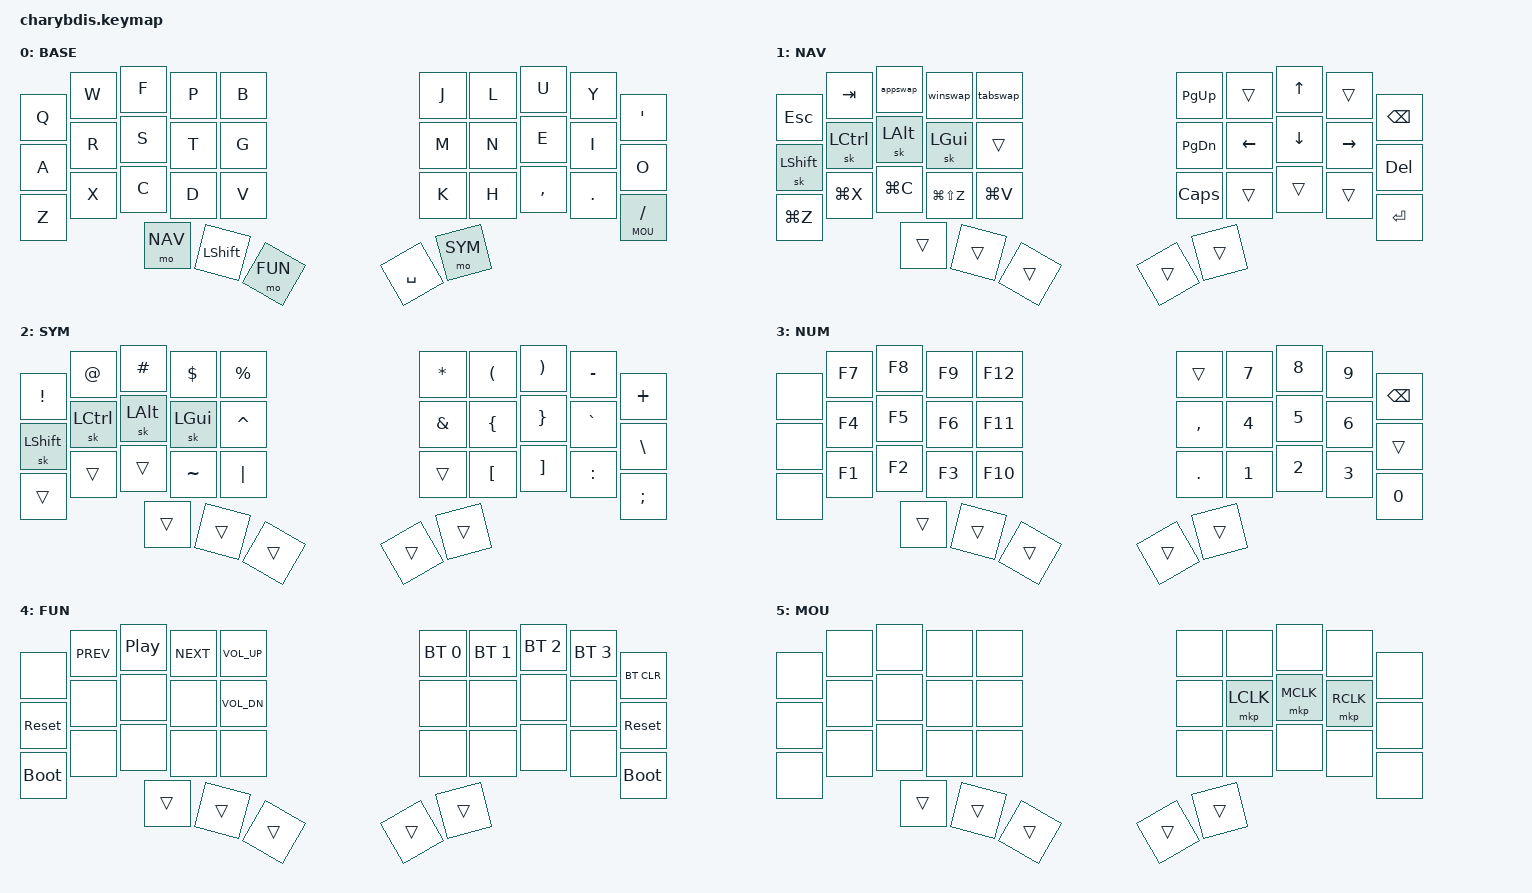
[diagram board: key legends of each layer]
#include <behaviors.dtsi>
#include <dt-bindings/zmk/keys.h>
#include <dt-bindings/zmk/bt.h>
#include <dt-bindings/zmk/mouse.h>

#define BASE 0
#define NAV  1
#define SYM  2
#define NUM  3
#define FUN  4
#define MOU  5

&sk {
    quick-release;
};

/ {
    chosen {
        zmk,matrix_transform = &five_column_transform;
    };

    trackball_listener {
        compatible = "zmk,input-listener";
        device = <&trackball_split>;

        snipe {
            layers = <MOU>;
            input-processors = <&zip_xy_scaler 1 3>;
        };

        scroll {
            layers = <NAV>;
            input-processors = <&zip_xy_scaler 1 3>, <&zip_xy_to_scroll_mapper>, <&zip_scroll_transform (INPUT_TRANSFORM_Y_INVERT)>;
        };
    };

    conditional_layers {
        compatible = "zmk,conditional-layers";

        adjust_layer {
            if-layers = <NAV SYM>;
            then-layer = <NUM>;
        };
    };

    behaviors {
        appswap: appswap {
            compatible = "zmk,behavior-tri-state";
            label = "App Switcher";
            #binding-cells = <0>;
            bindings = <&kt LGUI>, <&kp TAB>, <&kt LGUI>;
        };
        winswap: winswap {
            compatible = "zmk,behavior-tri-state";
            label = "Window Switcher";
            #binding-cells = <0>;
            bindings = <&kt LALT>, <&kp GRAVE>, <&kt LALT>;
        };
        tabswap: tabswap {
            compatible = "zmk,behavior-tri-state";
            label = "Tab Switcher";
            #binding-cells = <0>;
            bindings = <&kt LCTRL>, <&kp TAB>, <&kt LCTRL>;
        };
    };

     keymap {
            compatible = "zmk,keymap";
// ▄▄▄▄▄▄▄▄▄▄▄▄▄▄▄▄▄▄▄▄▄▄▄▄▄▄▄▄▄▄▄▄▄▄▄▄▄▄▄▄▄▄▄▄▄▄▄▄▄▄▄▄▄▄▄▄▄▄▄▄▄▄▄▄▄▄▄▄▄▄▄▄▄▄▄▄▄▄▄▄▄▄▄▄▄▄▄▄▄▄▄▄▄▄▄▄▄▄▄▄▄▄▄▄▄▄▄▄▄▄▄▄▄▄▄▄▄▄▄▄▄▄▄▄▄▄▄▄▄▄▄▄▄▄▄▄▄▄▄▄▄▄▄▄▄▄▄▄▄

            base_layer {
// ┏━━━━━━━━━━━━━━━━━━━━━━━━━━━━━━━━━━━━━━━┓
label= "BASE"                              ;
// ┗━━━━━━━━━━━━━━━━━━━━━━━━━━━━━━━━━━━━━━━┛
//             ┏━━━━━━━━━━━┳━━━━━━━━━━━┳━━━━━━━━━━━┳━━━━━━━━━━━┳━━━━━━━━━━━┓   ┏━━━━━━━━━━━┳━━━━━━━━━━━┳━━━━━━━━━━━┳━━━━━━━━━━━┳━━━━━━━━━━━┓
//             ┃     Q     ┃     W     ┃     F     ┃     P     ┃     B     ┃   ┃     J     ┃     L     ┃     U     ┃     Y     ┃     '     ┃
//             ┣━━━━━━━━━━━╋━━━━━━━━━━━╋━━━━━━━━━━━╋━━━━━━━━━━━╋━━━━━━━━━━━┫   ┣━━━━━━━━━━━╋━━━━━━━━━━━╋━━━━━━━━━━━╋━━━━━━━━━━━╋━━━━━━━━━━━┫
//             ┃     A     ┃     R     ┃     S     ┃     T     ┃     G     ┃   ┃     M     ┃     N     ┃     E     ┃     I     ┃     O     ┃
//             ┣━━━━━━━━━━━╋━━━━━━━━━━━╋━━━━━━━━━━━╋━━━━━━━━━━━╋━━━━━━━━━━━┫   ┣━━━━━━━━━━━╋━━━━━━━━━━━╋━━━━━━━━━━━╋━━━━━━━━━━━╋━━━━━━━━━━━┫
//             ┃     Z     ┃     X     ┃     C     ┃     D     ┃     V     ┃   ┃     K     ┃     H     ┃     ,     ┃     .     ┃     /     ┃
//             ┗━━━━━━━━━━━┻━━━━━━━━━━━╋━━━━━━━━━━━╋━━━━━━━━━━━╋━━━━━━━━━━━┫   ┣━━━━━━━━━━━╋━━━━━━━━━━━╋━━━━━━━━━━━┻━━━━━━━━━━━┻━━━━━━━━━━━┛
//                                     ┃    NAV    ┃    SHFT   ┃    FUN    ┃   ┃    SPC    ┃    SYM    ┃
//                                     ┗━━━━━━━━━━━┻━━━━━━━━━━━┻━━━━━━━━━━━┛   ┗━━━━━━━━━━━┻━━━━━━━━━━━┛
 bindings = <
// ╷           ╷           ╷           ╷           ╷           ╷           ╷   ╷           ╷           ╷           ╷           ╷           ╷           ╷

                &kp Q       &kp W       &kp F       &kp P       &kp B           &kp J       &kp L       &kp U       &kp Y       &kp SQT
                &kp A       &kp R       &kp S       &kp T       &kp G           &kp M       &kp N       &kp E       &kp I       &kp O
                &kp Z       &kp X       &kp C       &kp D       &kp V           &kp K       &kp H       &kp COMMA   &kp DOT     &lt MOU FSLH
                                        &mo NAV     &kp LSHFT   &mo FUN         &kp SPC     &mo SYM
                        >;
                };

// ▄▄▄▄▄▄▄▄▄▄▄▄▄▄▄▄▄▄▄▄▄▄▄▄▄▄▄▄▄▄▄▄▄▄▄▄▄▄▄▄▄▄▄▄▄▄▄▄▄▄▄▄▄▄▄▄▄▄▄▄▄▄▄▄▄▄▄▄▄▄▄▄▄▄▄▄▄▄▄▄▄▄▄▄▄▄▄▄▄▄▄▄▄▄▄▄▄▄▄▄▄▄▄▄▄▄▄▄▄▄▄▄▄▄▄▄▄▄▄▄▄▄▄▄▄▄▄▄▄▄▄▄▄▄▄▄▄▄▄▄▄▄▄▄▄▄▄▄▄


            nav_layer {
// ┏━━━━━━━━━━━━━━━━━━━━━━━━━━━━━━━━━━━━━━━┓
label= "NAV"                               ;
// ┗━━━━━━━━━━━━━━━━━━━━━━━━━━━━━━━━━━━━━━━┛
//             ┏━━━━━━━━━━━┳━━━━━━━━━━━┳━━━━━━━━━━━┳━━━━━━━━━━━┳━━━━━━━━━━━┓   ┏━━━━━━━━━━━┳━━━━━━━━━━━┳━━━━━━━━━━━┳━━━━━━━━━━━┳━━━━━━━━━━━┓
//             ┃    ESC    ┃    TAB    ┃  NXT_APP  ┃  NXT_WIN  ┃  NXT_TAB  ┃   ┃   PG_UP   ┃           ┃    UP     ┃           ┃   BSPC    ┃
//             ┣━━━━━━━━━━━╋━━━━━━━━━━━╋━━━━━━━━━━━╋━━━━━━━━━━━╋━━━━━━━━━━━┫   ┣━━━━━━━━━━━╋━━━━━━━━━━━╋━━━━━━━━━━━╋━━━━━━━━━━━╋━━━━━━━━━━━┫
//             ┃   SHIFT   ┃   CTRL    ┃    ALT    ┃    GUI    ┃           ┃   ┃   PG_DN   ┃   LEFT    ┃   DOWN    ┃   RIGHT   ┃    DEL    ┃
//             ┣━━━━━━━━━━━╋━━━━━━━━━━━╋━━━━━━━━━━━╋━━━━━━━━━━━╋━━━━━━━━━━━┫   ┣━━━━━━━━━━━╋━━━━━━━━━━━╋━━━━━━━━━━━╋━━━━━━━━━━━╋━━━━━━━━━━━┫
//             ┃    UNDO   ┃    CUT    ┃    COPY   ┃    REDO   ┃   PASTE   ┃   ┃   CAPS    ┃           ┃           ┃           ┃   ENTER   ┃
//             ┗━━━━━━━━━━━┻━━━━━━━━━━━╋━━━━━━━━━━━╋━━━━━━━━━━━╋━━━━━━━━━━━┫   ┣━━━━━━━━━━━╋━━━━━━━━━━━╋━━━━━━━━━━━┻━━━━━━━━━━━┻━━━━━━━━━━━┛
//                                     ┃    NAV    ┃    SHFT   ┃    FUN    ┃   ┃    SPC    ┃    SYM    ┃
//                                     ┗━━━━━━━━━━━┻━━━━━━━━━━━┻━━━━━━━━━━━┛   ┗━━━━━━━━━━━┻━━━━━━━━━━━┛
 bindings = <
// ╷           ╷           ╷           ╷           ╷           ╷           ╷   ╷           ╷           ╷           ╷           ╷           ╷           ╷

                &kp ESC     &kp TAB     &appswap    &winswap    &tabswap        &kp PG_UP   &trans      &kp UP      &trans      &kp BSPC
                &sk LSHFT   &sk LCTRL   &sk LALT    &sk LGUI    &trans          &kp PG_DN   &kp LEFT    &kp DOWN    &kp RIGHT   &kp DEL
                &kp LG(Z)   &kp LG(X)   &kp LG(C)   &kp LG(LS(Z)) &kp LG(V)     &kp CAPS    &trans      &trans      &trans      &kp ENTER
                                        &trans      &trans      &trans          &trans      &trans
                        >;
                };

// ▄▄▄▄▄▄▄▄▄▄▄▄▄▄▄▄▄▄▄▄▄▄▄▄▄▄▄▄▄▄▄▄▄▄▄▄▄▄▄▄▄▄▄▄▄▄▄▄▄▄▄▄▄▄▄▄▄▄▄▄▄▄▄▄▄▄▄▄▄▄▄▄▄▄▄▄▄▄▄▄▄▄▄▄▄▄▄▄▄▄▄▄▄▄▄▄▄▄▄▄▄▄▄▄▄▄▄▄▄▄▄▄▄▄▄▄▄▄▄▄▄▄▄▄▄▄▄▄▄▄▄▄▄▄▄▄▄▄▄▄▄▄▄▄▄▄▄▄▄


            sim_layer {
// ┏━━━━━━━━━━━━━━━━━━━━━━━━━━━━━━━━━━━━━━━┓
label= "SYM"                               ;
// ┗━━━━━━━━━━━━━━━━━━━━━━━━━━━━━━━━━━━━━━━┛
//             ┏━━━━━━━━━━━┳━━━━━━━━━━━┳━━━━━━━━━━━┳━━━━━━━━━━━┳━━━━━━━━━━━┓   ┏━━━━━━━━━━━┳━━━━━━━━━━━┳━━━━━━━━━━━┳━━━━━━━━━━━┳━━━━━━━━━━━┓
//             ┃     !     ┃     @     ┃     #     ┃     $     ┃     %     ┃   ┃     *     ┃     (     ┃     )     ┃     -     ┃     =     ┃
//             ┣━━━━━━━━━━━╋━━━━━━━━━━━╋━━━━━━━━━━━╋━━━━━━━━━━━╋━━━━━━━━━━━┫   ┣━━━━━━━━━━━╋━━━━━━━━━━━╋━━━━━━━━━━━╋━━━━━━━━━━━╋━━━━━━━━━━━┫
//             ┃   SHIFT   ┃   CTRL    ┃    ALT    ┃    GUI    ┃     ^     ┃   ┃     &     ┃     {     ┃     }     ┃     `     ┃     \     ┃
//             ┣━━━━━━━━━━━╋━━━━━━━━━━━╋━━━━━━━━━━━╋━━━━━━━━━━━╋━━━━━━━━━━━┫   ┣━━━━━━━━━━━╋━━━━━━━━━━━╋━━━━━━━━━━━╋━━━━━━━━━━━╋━━━━━━━━━━━┫
//             ┃           ┃           ┃           ┃     ~     ┃     |     ┃   ┃           ┃     [     ┃     ]     ┃      :    ┃     ;     ┃
//             ┗━━━━━━━━━━━┻━━━━━━━━━━━╋━━━━━━━━━━━╋━━━━━━━━━━━╋━━━━━━━━━━━┫   ┣━━━━━━━━━━━╋━━━━━━━━━━━╋━━━━━━━━━━━┻━━━━━━━━━━━┻━━━━━━━━━━━┛
//                                     ┃    NAV    ┃    SHFT   ┃    FUN    ┃   ┃    SPC    ┃    SYM    ┃
//                                     ┗━━━━━━━━━━━┻━━━━━━━━━━━┻━━━━━━━━━━━┛   ┗━━━━━━━━━━━┻━━━━━━━━━━━┛
 bindings = <
// ╷           ╷           ╷           ╷           ╷           ╷           ╷   ╷           ╷           ╷           ╷           ╷           ╷           ╷

                &kp EXCL    &kp AT      &kp HASH    &kp DLLR    &kp PRCNT       &kp ASTRK   &kp LPAR    &kp RPAR   &kp MINUS    &kp PLUS
                &sk LSHFT   &sk LCTRL   &sk LALT    &sk LGUI    &kp CARET       &kp AMPS    &kp LBRC    &kp RBRC   &kp GRAVE    &kp BSLH
                &trans      &trans      &trans      &kp TILDE   &kp PIPE        &trans      &kp LBKT    &kp RBKT   &kp COLON    &kp SEMI
                                        &trans      &trans      &trans          &trans      &trans
                        >;
                };

// ▄▄▄▄▄▄▄▄▄▄▄▄▄▄▄▄▄▄▄▄▄▄▄▄▄▄▄▄▄▄▄▄▄▄▄▄▄▄▄▄▄▄▄▄▄▄▄▄▄▄▄▄▄▄▄▄▄▄▄▄▄▄▄▄▄▄▄▄▄▄▄▄▄▄▄▄▄▄▄▄▄▄▄▄▄▄▄▄▄▄▄▄▄▄▄▄▄▄▄▄▄▄▄▄▄▄▄▄▄▄▄▄▄▄▄▄▄▄▄▄▄▄▄▄▄▄▄▄▄▄▄▄▄▄▄▄▄▄▄▄▄▄▄▄▄▄▄▄▄


            num_layer {
// ┏━━━━━━━━━━━━━━━━━━━━━━━━━━━━━━━━━━━━━━━┓
label= "NUM"                               ;
// ┗━━━━━━━━━━━━━━━━━━━━━━━━━━━━━━━━━━━━━━━┛
//             ┏━━━━━━━━━━━┳━━━━━━━━━━━┳━━━━━━━━━━━┳━━━━━━━━━━━┳━━━━━━━━━━━┓   ┏━━━━━━━━━━━┳━━━━━━━━━━━┳━━━━━━━━━━━┳━━━━━━━━━━━┳━━━━━━━━━━━┓
//             ┃           ┃    F7     ┃    F8     ┃    F9     ┃    F12    ┃   ┃           ┃     7     ┃     8     ┃     9     ┃   BSPC    ┃
//             ┣━━━━━━━━━━━╋━━━━━━━━━━━╋━━━━━━━━━━━╋━━━━━━━━━━━╋━━━━━━━━━━━┫   ┣━━━━━━━━━━━╋━━━━━━━━━━━╋━━━━━━━━━━━╋━━━━━━━━━━━╋━━━━━━━━━━━┫
//             ┃           ┃    F4     ┃    F5     ┃    F6     ┃    F11    ┃   ┃     ,     ┃     4     ┃     5     ┃     6     ┃           ┃
//             ┣━━━━━━━━━━━╋━━━━━━━━━━━╋━━━━━━━━━━━╋━━━━━━━━━━━╋━━━━━━━━━━━╋   ┣━━━━━━━━━━━╋━━━━━━━━━━━╋━━━━━━━━━━━╋━━━━━━━━━━━╋━━━━━━━━━━━┫
//             ┃           ┃    F1     ┃    F2     ┃    F3     ┃    F10    ┃   ┃     .     ┃     1     ┃     2     ┃     3     ┃     0     ┃
//             ┗━━━━━━━━━━━┻━━━━━━━━━━━╋━━━━━━━━━━━╋━━━━━━━━━━━┻━━━━━━━━━━━┻   ┣━━━━━━━━━━━╋━━━━━━━━━━━╋━━━━━━━━━━━┻━━━━━━━━━━━┻━━━━━━━━━━━┛
//                                     ┃    NAV    ┃    SHFT   ┃    FUN    ┃   ┃    SPC    ┃    SYM    ┃
//                                     ┗━━━━━━━━━━━┻━━━━━━━━━━━┻━━━━━━━━━━━┛   ┗━━━━━━━━━━━┻━━━━━━━━━━━┛
 bindings = <
// ╷           ╷           ╷           ╷           ╷           ╷           ╷   ╷           ╷           ╷           ╷           ╷           ╷           ╷

                &none      &kp F7      &kp F8      &kp F9      &kp F12          &trans      &kp N7      &kp N8      &kp N9      &kp BSPC
                &none      &kp F4      &kp F5      &kp F6      &kp F11          &kp COMMA   &kp N4      &kp N5      &kp N6      &trans
                &none      &kp F1      &kp F2      &kp F3      &kp F10          &kp DOT     &kp N1      &kp N2      &kp N3      &kp N0
                                       &trans      &trans      &trans           &trans      &trans
                        >;
                };

// ▄▄▄▄▄▄▄▄▄▄▄▄▄▄▄▄▄▄▄▄▄▄▄▄▄▄▄▄▄▄▄▄▄▄▄▄▄▄▄▄▄▄▄▄▄▄▄▄▄▄▄▄▄▄▄▄▄▄▄▄▄▄▄▄▄▄▄▄▄▄▄▄▄▄▄▄▄▄▄▄▄▄▄▄▄▄▄▄▄▄▄▄▄▄▄▄▄▄▄▄▄▄▄▄▄▄▄▄▄▄▄▄▄▄▄▄▄▄▄▄▄▄▄▄▄▄▄▄▄▄▄▄▄▄▄▄▄▄▄▄▄▄▄▄▄▄▄▄▄


        fun_layer {
// ┏━━━━━━━━━━━━━━━━━━━━━━━━━━━━━━━━━━━━━━━┓
label= "FUN"                               ;
// ┗━━━━━━━━━━━━━━━━━━━━━━━━━━━━━━━━━━━━━━━┛
//             ┏━━━━━━━━━━━┳━━━━━━━━━━━┳━━━━━━━━━━━┳━━━━━━━━━━━┳━━━━━━━━━━━┓   ┏━━━━━━━━━━━┳━━━━━━━━━━━┳━━━━━━━━━━━┳━━━━━━━━━━━┳━━━━━━━━━━━┓
//             ┃           ┃   PREV    ┃   PLAY    ┃   NEXT    ┃   VOL_UP  ┃   ┃   BT_0    ┃   BT_1    ┃    BT_2   ┃    BT_3   ┃  BT_CLR   ┃
//             ┣━━━━━━━━━━━╋━━━━━━━━━━━╋━━━━━━━━━━━╋━━━━━━━━━━━╋━━━━━━━━━━━┫   ┣━━━━━━━━━━━╋━━━━━━━━━━━╋━━━━━━━━━━━╋━━━━━━━━━━━╋━━━━━━━━━━━┫
//             ┃           ┃           ┃           ┃           ┃   VOL_DN  ┃   ┃           ┃           ┃           ┃           ┃           ┃
//             ┣━━━━━━━━━━━╋━━━━━━━━━━━╋━━━━━━━━━━━╋━━━━━━━━━━━╋━━━━━━━━━━━┫   ┣━━━━━━━━━━━╋━━━━━━━━━━━╋━━━━━━━━━━━╋━━━━━━━━━━━╋━━━━━━━━━━━┫
//             ┃           ┃           ┃           ┃           ┃           ┃   ┃           ┃           ┃           ┃           ┃           ┃
//             ┗━━━━━━━━━━━┻━━━━━━━━━━━╋━━━━━━━━━━━╋━━━━━━━━━━━╋━━━━━━━━━━━┫   ┣━━━━━━━━━━━╋━━━━━━━━━━━╋━━━━━━━━━━━┻━━━━━━━━━━━┻━━━━━━━━━━━┛
//                                     ┃    NAV    ┃    SHFT   ┃    FUN    ┃   ┃    SPC    ┃    SYM    ┃
//                                     ┗━━━━━━━━━━━┻━━━━━━━━━━━┻━━━━━━━━━━━┛   ┗━━━━━━━━━━━┻━━━━━━━━━━━┛
 bindings = <
// ╷           ╷           ╷           ╷           ╷           ╷           ╷   ╷           ╷           ╷           ╷           ╷           ╷           ╷

                &none       &kp C_PREV  &kp C_PP    &kp C_NEXT  &kp C_VOL_UP    &bt BT_SEL 0 &bt BT_SEL 1 &bt BT_SEL 2 &bt BT_SEL 3 &bt BT_CLR
                &sys_reset  &none       &none       &none       &kp C_VOL_DN    &none      &none        &none       &none       &sys_reset
                &bootloader &none       &none       &none       &none           &none      &none        &none       &none       &bootloader
                                        &trans      &trans      &trans          &trans     &trans
                        >;
                };

// ▄▄▄▄▄▄▄▄▄▄▄▄▄▄▄▄▄▄▄▄▄▄▄▄▄▄▄▄▄▄▄▄▄▄▄▄▄▄▄▄▄▄▄▄▄▄▄▄▄▄▄▄▄▄▄▄▄▄▄▄▄▄▄▄▄▄▄▄▄▄▄▄▄▄▄▄▄▄▄▄▄▄▄▄▄▄▄▄▄▄▄▄▄▄▄▄▄▄▄▄▄▄▄▄▄▄▄▄▄▄▄▄▄▄▄▄▄▄▄▄▄▄▄▄▄▄▄▄▄▄▄▄▄▄▄▄▄▄▄▄▄▄▄▄▄▄▄▄▄


            mou_layer {
// ┏━━━━━━━━━━━━━━━━━━━━━━━━━━━━━━━━━━━━━━━┓
label= "MOU"                               ;
// ┗━━━━━━━━━━━━━━━━━━━━━━━━━━━━━━━━━━━━━━━┛
//             ┏━━━━━━━━━━━┳━━━━━━━━━━━┳━━━━━━━━━━━┳━━━━━━━━━━━┳━━━━━━━━━━━┓   ┏━━━━━━━━━━━┳━━━━━━━━━━━┳━━━━━━━━━━━┳━━━━━━━━━━━┳━━━━━━━━━━━┓
//             ┃           ┃           ┃           ┃           ┃           ┃   ┃           ┃           ┃           ┃           ┃           ┃
//             ┣━━━━━━━━━━━╋━━━━━━━━━━━╋━━━━━━━━━━━╋━━━━━━━━━━━╋━━━━━━━━━━━┫   ┣━━━━━━━━━━━╋━━━━━━━━━━━╋━━━━━━━━━━━╋━━━━━━━━━━━╋━━━━━━━━━━━┫
//             ┃           ┃           ┃           ┃           ┃           ┃   ┃           ┃  LCLICK   ┃  MCLICK   ┃  RCLICK   ┃           ┃
//             ┣━━━━━━━━━━━╋━━━━━━━━━━━╋━━━━━━━━━━━╋━━━━━━━━━━━╋━━━━━━━━━━━┫   ┣━━━━━━━━━━━╋━━━━━━━━━━━╋━━━━━━━━━━━╋━━━━━━━━━━━╋━━━━━━━━━━━┫
//             ┃           ┃           ┃           ┃           ┃           ┃   ┃           ┃           ┃           ┃           ┃           ┃
//             ┗━━━━━━━━━━━┻━━━━━━━━━━━╋━━━━━━━━━━━╋━━━━━━━━━━━╋━━━━━━━━━━━┫   ┣━━━━━━━━━━━╋━━━━━━━━━━━╋━━━━━━━━━━━┻━━━━━━━━━━━┻━━━━━━━━━━━┛
//                                     ┃    NAV    ┃    SHFT   ┃    FUN    ┃   ┃    SPC    ┃    SYM    ┃
//                                     ┗━━━━━━━━━━━┻━━━━━━━━━━━┻━━━━━━━━━━━┛   ┗━━━━━━━━━━━┻━━━━━━━━━━━┛
 bindings = <
// ╷           ╷           ╷           ╷           ╷           ╷           ╷   ╷           ╷           ╷           ╷           ╷           ╷           ╷

                &none       &none       &none       &none       &none           &none      &none      &none      &none      &none
                &none       &none       &none       &none       &none           &none      &mkp LCLK  &mkp MCLK  &mkp RCLK  &none
                &none       &none       &none       &none       &none           &none      &none      &none      &none      &none
                                        &trans      &trans      &trans          &trans     &trans
                        >;
                };

// ▄▄▄▄▄▄▄▄▄▄▄▄▄▄▄▄▄▄▄▄▄▄▄▄▄▄▄▄▄▄▄▄▄▄▄▄▄▄▄▄▄▄▄▄▄▄▄▄▄▄▄▄▄▄▄▄▄▄▄▄▄▄▄▄▄▄▄▄▄▄▄▄▄▄▄▄▄▄▄▄▄▄▄▄▄▄▄▄▄▄▄▄▄▄▄▄▄▄▄▄▄▄▄▄▄▄▄▄▄▄▄▄▄▄▄▄▄▄▄▄▄▄▄▄▄▄▄▄▄▄▄▄▄▄▄▄▄▄▄▄▄▄▄▄▄▄▄▄▄


        };
};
